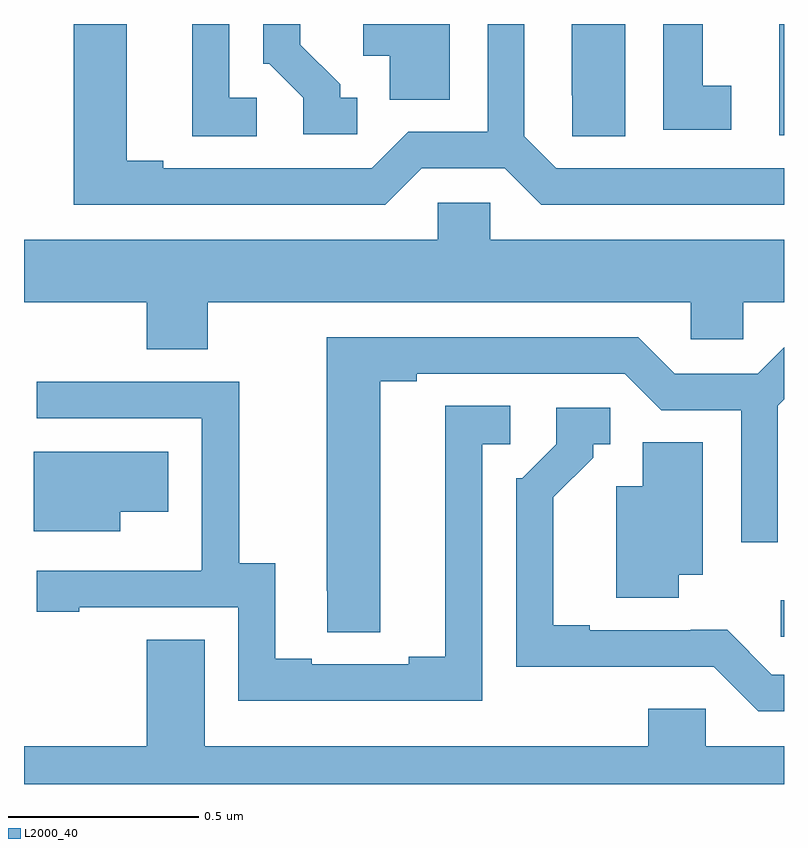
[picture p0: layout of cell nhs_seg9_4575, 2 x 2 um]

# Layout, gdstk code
import gdstk
lib = gdstk.Library(unit=1e-6, precision=1e-09)
def R(c, l, rs):  # rectangles x0, y0, x1, y1
    for r in rs: c.add(gdstk.rectangle(r[:2], r[2:], *l))
def P(c, l, *ps):  # polygons
    for p in ps: c.add(gdstk.Polygon(p, *l))
L2000_40 = (2000, 40)

nhs_seg9_4575 = lib.new_cell('nhs_seg9_4575')
R(nhs_seg9_4575, L2000_40, [(169.992,1180.887,170,1180.984), (169.988,1182.207,170,1182.5)])
P(nhs_seg9_4575, L2000_40, [(168.613,1182.306),(168.54,1182.306),(168.54,1182.5),(168.443,1182.5),(168.443,1182.205),(168.613,1182.205)],
  [(169.861,1182.338),(169.786,1182.338),(169.786,1182.5),(169.682,1182.5),(169.682,1182.222),(169.861,1182.222)],
  [(168.877,1182.306),(168.832,1182.306),(168.832,1182.341),(168.727,1182.446),(168.727,1182.5),(168.63,1182.5),(168.63,1182.396),(168.645,1182.396),(168.735,1182.306),(168.735,1182.21),(168.877,1182.21)],
  [(169.047,1182.12),(169.265,1182.12),(169.361,1182.024),(170,1182.024),(170,1182.12),(169.401,1182.12),(169.317,1182.204),(169.317,1182.5),(169.221,1182.5),(169.221,1182.216),(169.011,1182.216),(168.915,1182.12),(168.367,1182.12),(168.367,1182.14),(168.271,1182.14),(168.271,1182.5),(168.131,1182.5),(168.131,1182.024),(168.951,1182.024)],
  [(169.12,1182.5),(168.893,1182.5),(168.893,1182.416),(168.962,1182.416),(168.962,1182.301),(169.12,1182.301)],
  [(169.582,1182.5),(169.442,1182.5),(169.442,1182.313),(169.443,1182.313),(169.443,1182.205),(169.582,1182.205)],
  [(168.483,1181.768),(169.755,1181.768),(169.755,1181.67),(169.893,1181.67),(169.893,1181.768),(170,1181.768),(170,1181.932),(169.227,1181.932),(169.227,1182.03),(169.089,1182.03),(169.089,1181.932),(168,1181.932),(168,1181.768),(168.323,1181.768),(168.323,1181.644),(168.483,1181.644)],
  [(168.937,1181.56),(169.033,1181.56),(169.033,1181.58),(169.581,1181.58),(169.677,1181.484),(169.887,1181.484),(169.887,1181.136),(169.983,1181.136),(169.983,1181.496),(170,1181.513),(170,1181.649),(169.931,1181.58),(169.713,1181.58),(169.617,1181.676),(168.797,1181.676),(168.797,1181.008),(168.798,1181.008),(168.798,1180.9),(168.937,1180.9)],
  [(169.206,1181.394),(169.279,1181.394),(169.279,1181.495),(169.109,1181.495),(169.109,1180.835),(169.013,1180.835),(169.013,1180.815),(168.757,1180.815),(168.757,1180.83),(168.661,1180.83),(168.661,1181.081),(168.567,1181.081),(168.567,1181.559),(168.033,1181.559),(168.033,1181.463),(168.468,1181.463),(168.468,1181.062),(168.467,1181.062),(168.467,1181.061),(168.033,1181.061),(168.033,1180.953),(168.145,1180.953),(168.145,1180.965),(168.564,1180.965),(168.564,1180.719),(169.206,1180.719)],
  [(170,1180.788),(169.968,1180.788),(169.85,1180.906),(169.754,1180.906),(169.754,1180.905),(169.489,1180.905),(169.489,1180.918),(169.393,1180.918),(169.393,1181.254),(169.498,1181.359),(169.498,1181.394),(169.543,1181.394),(169.543,1181.49),(169.401,1181.49),(169.401,1181.394),(169.311,1181.304),(169.296,1181.304),(169.296,1180.808),(169.559,1180.808),(169.559,1180.809),(169.815,1180.809),(169.932,1180.692),(170,1180.692)],
  [(169.723,1181.051),(169.786,1181.051),(169.786,1181.399),(169.628,1181.399),(169.628,1181.284),(169.559,1181.284),(169.559,1180.99),(169.723,1180.99)],
  [(168.253,1181.216),(168.379,1181.216),(168.379,1181.374),(168.026,1181.374),(168.026,1181.165),(168.253,1181.165)],
  [(170,1180.6),(169.794,1180.6),(169.794,1180.698),(169.643,1180.698),(169.643,1180.6),(168.475,1180.6),(168.475,1180.88),(168.323,1180.88),(168.323,1180.6),(168,1180.6),(168,1180.5),(170,1180.5)])

lib.write_gds('nhs_seg9_4575.gds')
